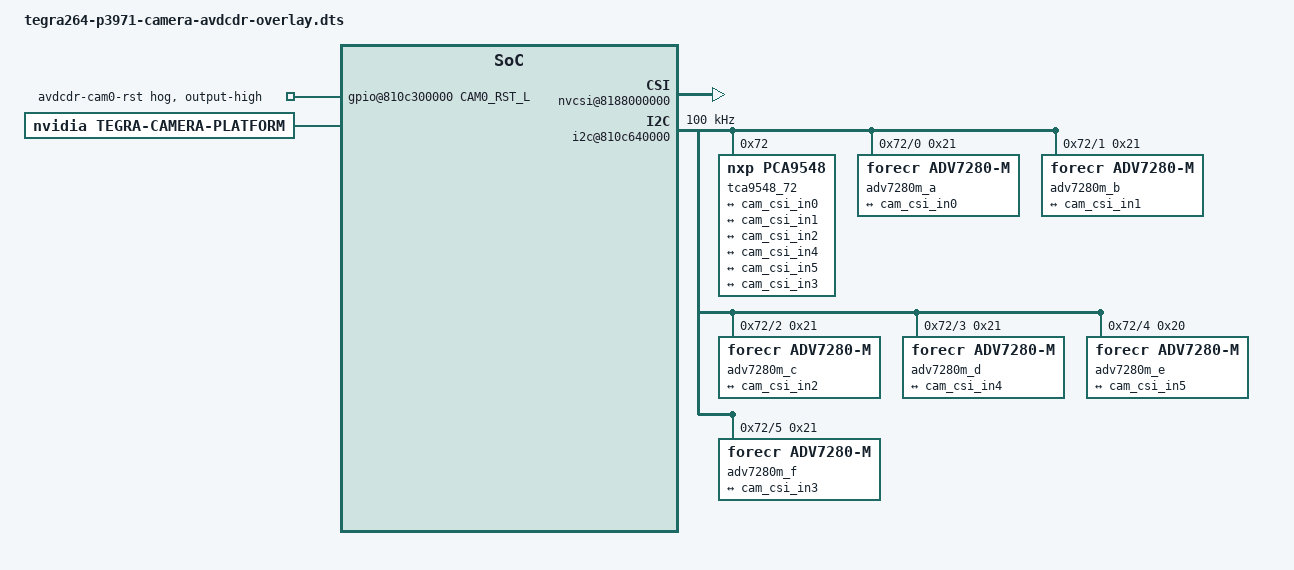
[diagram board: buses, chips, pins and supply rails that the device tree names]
// SPDX-License-Identifier: GPL-2.0-only
// SPDX-FileCopyrightText: Copyright (c) 2023-2024, NVIDIA CORPORATION & AFFILIATES. All rights reserved.

/dts-v1/;
/plugin/;

#include <dt-bindings/clock/tegra264-clk.h>
#include <dt-bindings/gpio/tegra264-gpio.h>
//#include <dt-bindings/media/camera.h>

#define JETSON_COMPATIBLE	"nvidia,p3971-0089+p3834-0008", "nvidia,p3971-0050+p3834-0005", "nvidia,p3971-0080+p3834-0008", "nvidia,p3834-0008", "nvidia,tegra264"

#define CAMERA_I2C_MUX_BUS(x) (0x28 + x)

/* Shared reset line for the ADV7280 decoders on the AVDCDR daughter card
 * (named CAM0_RST_L on every other camera overlay in this repo; on
 * dsboard-thrmax nothing else claims this pin, so it floats/reads low by
 * default). Hog it high so it's released from reset at boot instead of
 * left low. Note: on target, driving it high alone did not make the
 * decoders ack on I2C -- there is likely a separate power-enable step
 * still missing for this card, so this hog is necessary but may not be
 * sufficient by itself. */
#define CAM0_RST_L	TEGRA264_MAIN_GPIO(V, 2)

// Test commands:
// $ v4l2-ctl --set-ctrl preferred_stride=1472
// $ gst-launch-1.0 v4l2src device=/dev/video0 ! video/x-raw,format=UYVY,width=720,height=480,framerate=30/1 ! xvimagesink


/ {
	overlay-name = "DSADDON-AVDCDR-AGX-6CH";
	jetson-header-name = "Jetson AGX CSI Connector";
	compatible = JETSON_COMPATIBLE;
	
	fragment-camera@0 {
		target-path = "/";
		__overlay__ {
			
			tegra-capture-vi  {
				num-channels = <6>;
				ports {
					#address-cells = <1>;
					#size-cells = <0>;
					port@0 {
						status = "okay";
						reg = <0>;
						cam_vi_in0: endpoint {
							status = "okay";
							port-index = <0>;
							bus-width = <1>;
							remote-endpoint = <&cam_csi_out0>;
						};
					};
					port@1 {
						status = "okay";
						reg = <1>;
						cam_vi_in1: endpoint {
							status = "okay";
							port-index = <1>;
							bus-width = <1>;
							remote-endpoint = <&cam_csi_out1>;
						};
					};
					port@2 {
						status = "okay";
						reg = <2>;
						cam_vi_in2: endpoint {
							status = "okay";
							port-index = <2>;
							bus-width = <1>;
							remote-endpoint = <&cam_csi_out2>;
						};
					};
					port@3 {
						status = "okay";
						reg = <3>;
						cam_vi_in3: endpoint {
							status = "okay";
							port-index = <3>;
							bus-width = <1>;
							remote-endpoint = <&cam_csi_out3>;
						};
					};
					port@4 {
						status = "okay";
						reg = <4>;
						cam_vi_in4: endpoint {
							status = "okay";
							port-index = <4>;
							bus-width = <1>;
							remote-endpoint = <&cam_csi_out4>;
						};
					};
					port@5 {
						status = "okay";
						reg = <5>;
						cam_vi_in5: endpoint {
							status = "okay";
							port-index = <5>;
							bus-width = <1>;
							remote-endpoint = <&cam_csi_out5>;
						};
					};
				};
			};
			
			bus@0 {
				host1x@8181200000 {
					nvcsi@8188000000 {
						num-channels = <6>;
						#address-cells = <1>;
						#size-cells = <0>;
						status = "okay";
						channel@0 {
							status = "okay";
							reg = <0>;
							discontinuous_clk = "no";
							
							ports {
								#address-cells = <1>;
								#size-cells = <0>;
								port@0 {
									status = "okay";
									reg = <0>;
									cam_csi_in0: endpoint@0 {
										status = "okay";
										port-index = <0>;
										bus-width = <1>;
										remote-endpoint = <&adv7280_out_0>;
									};
								};
								port@1 {
									status = "okay";
									reg = <1>;
									cam_csi_out0: endpoint@1 {
										status = "okay";
										bus-width = <1>;
										remote-endpoint = <&cam_vi_in0>;
									};
								};
							};
						};
						channel@1 {
							status = "okay";
							reg = <1>;
							discontinuous_clk = "no";
							
							ports {
								#address-cells = <1>;
								#size-cells = <0>;
								port@0 {
									status = "okay";
									reg = <0>;
									cam_csi_in1: endpoint@2 {
										status = "okay";
										port-index = <1>;
										bus-width = <1>;
										remote-endpoint = <&adv7280_out_1>;
									};
								};
								port@1 {
									status = "okay";
									reg = <1>;
									cam_csi_out1: endpoint@3 {
										status = "okay";
										bus-width = <1>;
										remote-endpoint = <&cam_vi_in1>;
									};
								};
							};
						};
						channel@2 {
							status = "okay";
							reg = <2>;
							discontinuous_clk = "no";
							
							ports {
								#address-cells = <1>;
								#size-cells = <0>;
								port@0 {
									status = "okay";
									reg = <0>;
									cam_csi_in2: endpoint@4 {
										status = "okay";
										port-index = <2>;
										bus-width = <1>;
										remote-endpoint = <&adv7280_out_2>;
									};
								};
								port@1 {
									status = "okay";
									reg = <1>;
									cam_csi_out2: endpoint@5 {
										status = "okay";
										bus-width = <1>;
										remote-endpoint = <&cam_vi_in2>;
									};
								};
							};
						};
						channel@3 {
							status = "okay";
							reg = <3>;
							discontinuous_clk = "no";
							
							ports {
								#address-cells = <1>;
								#size-cells = <0>;
								port@0 {
									status = "okay";
									reg = <0>;
									cam_csi_in3: endpoint@6 {
										status = "okay";
										port-index = <3>;
										bus-width = <1>;
										remote-endpoint = <&adv7280_out_3>;
									};
								};
								port@1 {
									status = "okay";
									reg = <1>;
									cam_csi_out3: endpoint@7 {
										status = "okay";
										bus-width = <1>;
										remote-endpoint = <&cam_vi_in3>;
									};
								};
							};
						};
						channel@4 {
							status = "okay";
							reg = <4>;
							discontinuous_clk = "no";
							
							ports {
								#address-cells = <1>;
								#size-cells = <0>;
								port@0 {
									status = "okay";
									reg = <0>;
									cam_csi_in4: endpoint@8 {
										status = "okay";
										port-index = <4>;
										bus-width = <1>;
										remote-endpoint = <&adv7280_out_4>;
									};
								};
								port@1 {
									status = "okay";
									reg = <1>;
									cam_csi_out4: endpoint@9 {
										status = "okay";
										bus-width = <1>;
										remote-endpoint = <&cam_vi_in4>;
									};
								};
							};
						};
						channel@5 {
							status = "okay";
							reg = <5>;
							discontinuous_clk = "no";
							
							ports {
								#address-cells = <1>;
								#size-cells = <0>;
								port@0 {
									status = "okay";
									reg = <0>;
									cam_csi_in5: endpoint@10 {
										status = "okay";
										port-index = <6>;
										bus-width = <1>;
										remote-endpoint = <&adv7280_out_5>;
									};
								};
								port@1 {
									status = "okay";
									reg = <1>;
									cam_csi_out5: endpoint@11 {
										status = "okay";
										bus-width = <1>;
										remote-endpoint = <&cam_vi_in5>;
									};
								};
							};
						};
					};
				};
				
				gpio@810c300000 {
					avdcdr-cam0-rst {
						gpio-hog;
						output-high;
						gpios = <CAM0_RST_L 0>;
						label = "avdcdr-cam0-rst";
					};
				};

				i2c@810c640000 {
					status = "okay";
					#address-cells = <1>;
					#size-cells = <0>;
					clock-frequency = <100000>;
					tca9548_72: tca9548@72 {
						status = "okay";
						compatible = "nxp,pca9548";
						reg = <0x72>;
						#address-cells = <1>;
						#size-cells = <0>;
						i2c-mux-idle-disconnect;
						idle-state = <1>;
						skip_mux_detect = "yes";
						vcc_lp = "vcc";
						
						
						
						i2c@0 {
							status = "okay";
							reg = <0>;
							i2c-mux,deselect-on-exit;
							#address-cells = <1>;
							#size-cells = <0>;
							adv7280m_a: composite-in@21 {
								status = "okay";
								compatible = "forecr,adv7280-m";
								reg = <0x21>;
								devnode = "video0";
								physical_w = "4.713";
								physical_h = "3.494";
								sensor_model = "adv7280-m";
								use_sensor_mode_id = "false";
								analog_input_select = <0>;
								active_w = "720";
								active_h = "576";
								mclk = "extperiph1";
								refclk_hz = <28636363>;

								embedded_metadata_height = "0";

								/* Required by nvidia-oot's sensor_common.c mode
								 * parsing (adv7280-m.c is camera_common-based,
								 * unlike the generic adv7180.c). pix_clk_hz is
								 * the standard ITU-R BT.656 SD digitized-video
								 * pixel clock (27MHz), not the MIPI CSI-2
								 * link/bit clock -- the framework derives that
								 * internally as
								 * pix_clk_hz * csi_pixel_bit_depth / num_lanes,
								 * which comes out to 432 Mbps here, matching
								 * the ADV7280-M datasheet's stated nominal
								 * CSI-2 output data rate exactly. */
								mode0 {
									num_lanes = "1";
									mclk_khz = "28636";
									tegra_sinterface = "serial_a";
									phy_mode = "DPHY";
									discontinuous_clk = "no";
									dpcm_enable = "false";
									cil_settletime = "0";
									csi_pixel_bit_depth = "16";
									pixel_t = "yuv_uyvy16";

									active_w = "720";
									active_h = "576";
									readout_orientation = "0";
									line_length = "864";
									inherent_gain = "1";
									pix_clk_hz = "27000000";

									embedded_metadata_height = "0";
								};

								ports {
									#address-cells = <1>;
									#size-cells = <0>;
									
									port@0 {
										reg = <0>;
										adv7280_out_0: endpoint {
											status = "okay";
											port-index = <0>;
											bus-width = <1>;
											remote-endpoint = <&cam_csi_in0>;
										};
									};
								};
							};
						};
						
						i2c@1 {
							status = "okay";
							reg = <1>;
							i2c-mux,deselect-on-exit;
							#address-cells = <1>;
							#size-cells = <0>;
							adv7280m_b: composite-in@21 {
								status = "okay";
								compatible = "forecr,adv7280-m";
								reg = <0x21>;
								devnode = "video1";
								physical_w = "4.713";
								physical_h = "3.494";
								sensor_model = "adv7280-m";
								use_sensor_mode_id = "false";
								analog_input_select = <1>;
								active_w = "720";
								active_h = "576";
								mclk = "extperiph1";
								refclk_hz = <28636363>;

								embedded_metadata_height = "0";

								/* Required by nvidia-oot's sensor_common.c mode
								 * parsing (adv7280-m.c is camera_common-based,
								 * unlike the generic adv7180.c). pix_clk_hz is
								 * the standard ITU-R BT.656 SD digitized-video
								 * pixel clock (27MHz), not the MIPI CSI-2
								 * link/bit clock -- the framework derives that
								 * internally as
								 * pix_clk_hz * csi_pixel_bit_depth / num_lanes,
								 * which comes out to 432 Mbps here, matching
								 * the ADV7280-M datasheet's stated nominal
								 * CSI-2 output data rate exactly. */
								mode0 {
									num_lanes = "1";
									mclk_khz = "28636";
									tegra_sinterface = "serial_b";
									phy_mode = "DPHY";
									discontinuous_clk = "no";
									dpcm_enable = "false";
									cil_settletime = "0";
									csi_pixel_bit_depth = "16";
									pixel_t = "yuv_uyvy16";

									active_w = "720";
									active_h = "576";
									readout_orientation = "0";
									line_length = "864";
									inherent_gain = "1";
									pix_clk_hz = "27000000";

									embedded_metadata_height = "0";
								};

								ports {
									#address-cells = <1>;
									#size-cells = <0>;
									
									port@0 {
										reg = <0>;
										adv7280_out_1: endpoint {
											status = "okay";
											port-index = <1>;
											bus-width = <1>;
											remote-endpoint = <&cam_csi_in1>;
										};
									};
								};
							};
						};
						
						i2c@2 {
							status = "okay";
							reg = <2>;
							i2c-mux,deselect-on-exit;
							#address-cells = <1>;
							#size-cells = <0>;
							adv7280m_c: composite-in@21 {
								status = "okay";
								compatible = "forecr,adv7280-m";
								reg = <0x21>;
								devnode = "video2";
								physical_w = "4.713";
								physical_h = "3.494";
								sensor_model = "adv7280-m";
								use_sensor_mode_id = "false";
								analog_input_select = <2>;
								adv,force-bt656-4;
								active_w = "720";
								active_h = "576";
								mclk = "extperiph1";
								refclk_hz = <28636363>;

								embedded_metadata_height = "0";

								/* Required by nvidia-oot's sensor_common.c mode
								 * parsing (adv7280-m.c is camera_common-based,
								 * unlike the generic adv7180.c). pix_clk_hz is
								 * the standard ITU-R BT.656 SD digitized-video
								 * pixel clock (27MHz), not the MIPI CSI-2
								 * link/bit clock -- the framework derives that
								 * internally as
								 * pix_clk_hz * csi_pixel_bit_depth / num_lanes,
								 * which comes out to 432 Mbps here, matching
								 * the ADV7280-M datasheet's stated nominal
								 * CSI-2 output data rate exactly. */
								mode0 {
									num_lanes = "1";
									mclk_khz = "28636";
									tegra_sinterface = "serial_c";
									phy_mode = "DPHY";
									discontinuous_clk = "no";
									dpcm_enable = "false";
									cil_settletime = "0";
									csi_pixel_bit_depth = "16";
									pixel_t = "yuv_uyvy16";

									active_w = "720";
									active_h = "576";
									readout_orientation = "0";
									line_length = "864";
									inherent_gain = "1";
									pix_clk_hz = "27000000";

									embedded_metadata_height = "0";
								};

								ports {
									#address-cells = <1>;
									#size-cells = <0>;
									
									port@0 {
										reg = <0>;
										adv7280_out_2: endpoint {
											status = "okay";
											port-index = <2>;
											bus-width = <1>;
											remote-endpoint = <&cam_csi_in2>;
										};
									};
								};
							};
						};
						
						i2c@3 {
							status = "okay";
							reg = <3>;
							i2c-mux,deselect-on-exit;
							#address-cells = <1>;
							#size-cells = <0>;
							adv7280m_d: composite-in@21 {
								status = "okay";
								compatible = "forecr,adv7280-m";
								reg = <0x21>;
								devnode = "video3";
								physical_w = "4.713";
								physical_h = "3.494";
								sensor_model = "adv7280-m";
								use_sensor_mode_id = "false";
								analog_input_select = <4>;
								active_w = "720";
								active_h = "576";
								mclk = "extperiph1";
								refclk_hz = <28636363>;

								embedded_metadata_height = "0";

								/* Required by nvidia-oot's sensor_common.c mode
								 * parsing (adv7280-m.c is camera_common-based,
								 * unlike the generic adv7180.c). pix_clk_hz is
								 * the standard ITU-R BT.656 SD digitized-video
								 * pixel clock (27MHz), not the MIPI CSI-2
								 * link/bit clock -- the framework derives that
								 * internally as
								 * pix_clk_hz * csi_pixel_bit_depth / num_lanes,
								 * which comes out to 432 Mbps here, matching
								 * the ADV7280-M datasheet's stated nominal
								 * CSI-2 output data rate exactly. */
								mode0 {
									num_lanes = "1";
									mclk_khz = "28636";
									tegra_sinterface = "serial_e";
									phy_mode = "DPHY";
									discontinuous_clk = "no";
									dpcm_enable = "false";
									cil_settletime = "0";
									csi_pixel_bit_depth = "16";
									pixel_t = "yuv_uyvy16";

									active_w = "720";
									active_h = "576";
									readout_orientation = "0";
									line_length = "864";
									inherent_gain = "1";
									pix_clk_hz = "27000000";

									embedded_metadata_height = "0";
								};

								ports {
									#address-cells = <1>;
									#size-cells = <0>;
									
									port@0 {
										reg = <0>;
										adv7280_out_4: endpoint {
											status = "okay";
											port-index = <4>;
											bus-width = <1>;
											remote-endpoint = <&cam_csi_in4>;
										};
									};
								};
							};
						};
						i2c@4 {
							status = "okay";
							reg = <4>;
							i2c-mux,deselect-on-exit;
							#address-cells = <1>;
							#size-cells = <0>;
							adv7280m_e: composite-in@20 {
								status = "okay";
								compatible = "forecr,adv7280-m";
								reg = <0x20>;
								devnode = "video4";
								physical_w = "4.713";
								physical_h = "3.494";
								sensor_model = "adv7280-m";
								use_sensor_mode_id = "false";
								analog_input_select = <5>;
								active_w = "720";
								active_h = "576";
								mclk = "extperiph1";
								refclk_hz = <28636363>;

								embedded_metadata_height = "0";

								/* Required by nvidia-oot's sensor_common.c mode
								 * parsing (adv7280-m.c is camera_common-based,
								 * unlike the generic adv7180.c). pix_clk_hz is
								 * the standard ITU-R BT.656 SD digitized-video
								 * pixel clock (27MHz), not the MIPI CSI-2
								 * link/bit clock -- the framework derives that
								 * internally as
								 * pix_clk_hz * csi_pixel_bit_depth / num_lanes,
								 * which comes out to 432 Mbps here, matching
								 * the ADV7280-M datasheet's stated nominal
								 * CSI-2 output data rate exactly. */
								mode0 {
									num_lanes = "1";
									mclk_khz = "28636";
									tegra_sinterface = "serial_f";
									phy_mode = "DPHY";
									discontinuous_clk = "no";
									dpcm_enable = "false";
									cil_settletime = "0";
									csi_pixel_bit_depth = "16";
									pixel_t = "yuv_uyvy16";

									active_w = "720";
									active_h = "576";
									readout_orientation = "0";
									line_length = "864";
									inherent_gain = "1";
									pix_clk_hz = "27000000";

									embedded_metadata_height = "0";
								};

								ports {
									#address-cells = <1>;
									#size-cells = <0>;
									
									port@0 {
										reg = <0>;
										adv7280_out_5: endpoint {
											status = "okay";
											port-index = <5>;
											bus-width = <1>;
											remote-endpoint = <&cam_csi_in5>;
										};
									};
								};
							};
						};
						i2c5: i2c@5 {
							status = "okay";
							reg = <5>;
							i2c-mux,deselect-on-exit;
							#address-cells = <1>;
							#size-cells = <0>;
							adv7280m_f: composite-in@21 {
								status = "okay";
								compatible = "forecr,adv7280-m";
								reg = <0x21>;
								devnode = "video5";
								physical_w = "4.713";
								physical_h = "3.494";
								sensor_model = "adv7280-m";
								use_sensor_mode_id = "false";
								analog_input_select = <3>;
								active_w = "720";
								active_h = "576";
								mclk = "extperiph1";
								refclk_hz = <28636363>;

								embedded_metadata_height = "0";

								/* Required by nvidia-oot's sensor_common.c mode
								 * parsing (adv7280-m.c is camera_common-based,
								 * unlike the generic adv7180.c). pix_clk_hz is
								 * the standard ITU-R BT.656 SD digitized-video
								 * pixel clock (27MHz), not the MIPI CSI-2
								 * link/bit clock -- the framework derives that
								 * internally as
								 * pix_clk_hz * csi_pixel_bit_depth / num_lanes,
								 * which comes out to 432 Mbps here, matching
								 * the ADV7280-M datasheet's stated nominal
								 * CSI-2 output data rate exactly. */
								mode0 {
									num_lanes = "1";
									mclk_khz = "28636";
									tegra_sinterface = "serial_d";
									phy_mode = "DPHY";
									discontinuous_clk = "no";
									dpcm_enable = "false";
									cil_settletime = "0";
									csi_pixel_bit_depth = "16";
									pixel_t = "yuv_uyvy16";

									active_w = "720";
									active_h = "576";
									readout_orientation = "0";
									line_length = "864";
									inherent_gain = "1";
									pix_clk_hz = "27000000";

									embedded_metadata_height = "0";
								};

								ports {
									#address-cells = <1>;
									#size-cells = <0>;
									
									port@0 {
										reg = <0>;
										adv7280_out_3: endpoint {
											status = "okay";
											port-index = <3>;
											bus-width = <1>;
											remote-endpoint = <&cam_csi_in3>;
										};
									};
								};
							};
						};
						i2c6: i2c@6 {
							status = "disabled";
							reg = <6>;
							i2c-mux,deselect-on-exit;
							#address-cells = <1>;
							#size-cells = <0>;
						};
						i2c7: i2c@7 {
							status = "disabled";
							reg = <7>;
							i2c-mux,deselect-on-exit;
							#address-cells = <1>;
							#size-cells = <0>;
						};
					};
				};
			};
			
			tegra-camera-platform {
				compatible = "nvidia, tegra-camera-platform";
				/**
				* Physical settings to calculate max ISO BW
				*
				* num_csi_lanes = <>;
				* Total number of CSI lanes when all cameras are active
				*
				* max_lane_speed = <>;
				* Max lane speed in Kbit/s
				*
				* min_bits_per_pixel = <>;
				* Min bits per pixel
				*
				* vi_peak_byte_per_pixel = <>;
				* Max byte per pixel for the VI ISO case
				*
				* vi_bw_margin_pct = <>;
				* Vi bandwidth margin in percentage
				*
				* max_pixel_rate = <>;
				* Max pixel rate in Kpixel/s for the ISP ISO case
				*
				* isp_peak_byte_per_pixel = <>;
				* Max byte per pixel for the ISP ISO case
				*
				* isp_bw_margin_pct = <>;
				* Isp bandwidth margin in percentage
				*/
				num_csi_lanes = <6>;
				max_lane_speed = <4000000>;
				min_bits_per_pixel = <10>;
				vi_peak_byte_per_pixel = <2>;
				vi_bw_margin_pct = <25>;
				isp_peak_byte_per_pixel = <5>;
				isp_bw_margin_pct = <25>;
				
				/**
				* The general guideline for naming badge_info contains 3 parts, and is as follows,
				* The first part is the camera_board_id for the module; if the module is in a FFD
				* platform, then use the platform name for this part.
				* The second part contains the position of the module, ex. "rear" or "front".
				* The third part contains the last 6 characters of a part number which is found
				* in the module's specsheet from the vendor.
				*/
				modules {
					module0 {
						status = "okay";
						badge = "dsaddon_avdcdr_ain1";
						position = "highest";
						orientation = "1";
						drivernode0 {
							status = "okay";
							pcl_id = "v4l2_sensor";
							sysfs-device-tree = "/sys/firmware/devicetree/base/bus@0/i2c@810c640000/tca9548@72/i2c@0/composite-in@21";
						};
					};
					module1 {
						status = "okay";
						badge = "dsaddon_avdcdr_ain2";
						position = "high";
						orientation = "1";
						drivernode0 {
							status = "okay";
							pcl_id = "v4l2_sensor";
							sysfs-device-tree = "/sys/firmware/devicetree/base/bus@0/i2c@810c640000/tca9548@72/i2c@1/composite-in@21";
						};
					};
					module2 {
						status = "okay";
						badge = "dsaddon_avdcdr_ain3";
						position = "high_middle";
						orientation = "1";
						drivernode0 {
							status = "okay";
							pcl_id = "v4l2_sensor";
							sysfs-device-tree = "/sys/firmware/devicetree/base/bus@0/i2c@810c640000/tca9548@72/i2c@2/composite-in@21";
						};
					};
					module3 {
						status = "okay";
						badge = "dsaddon_avdcdr_ain5";
						position = "low";
						orientation = "1";
						drivernode0 {
							status = "okay";
							pcl_id = "v4l2_sensor";
							sysfs-device-tree = "/sys/firmware/devicetree/base/bus@0/i2c@810c640000/tca9548@72/i2c@3/composite-in@21";
						};
					};
					module4 {
						status = "okay";
						badge = "dsaddon_avdcdr_ain6";
						position = "lowest";
						orientation = "1";
						drivernode0 {
							status = "okay";
							pcl_id = "v4l2_sensor";
							sysfs-device-tree = "/sys/firmware/devicetree/base/bus@0/i2c@810c640000/tca9548@72/i2c@4/composite-in@21";
						};
					};
					module5 {
						status = "okay";
						badge = "dsaddon_avdcdr_ain4";
						position = "low_middle";
						orientation = "1";
						drivernode0 {
							status = "okay";
							pcl_id = "v4l2_sensor";
							sysfs-device-tree = "/sys/firmware/devicetree/base/bus@0/i2c@810c640000/tca9548@72/i2c@5/composite-in@21";
						};
					};
				};
			};
			
		};//__overlay__ ends
	};//fragment-camera@0 ends
};
